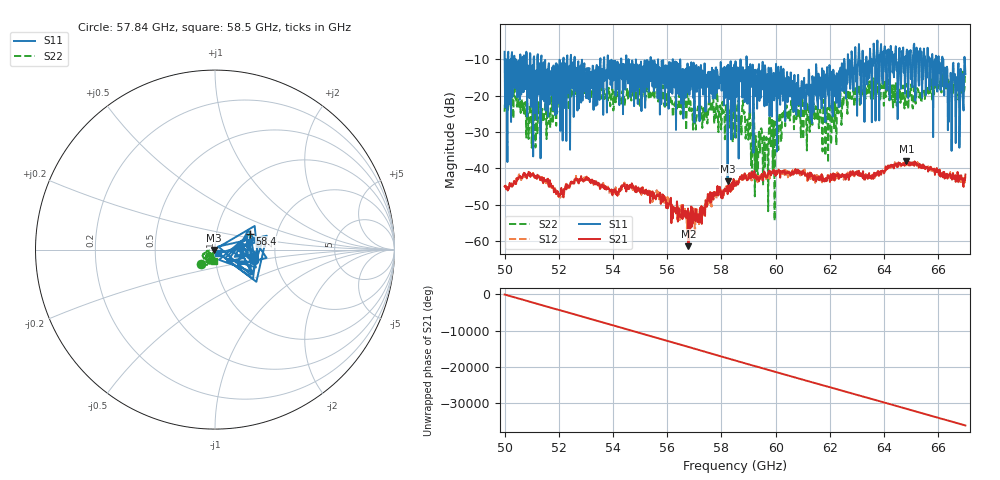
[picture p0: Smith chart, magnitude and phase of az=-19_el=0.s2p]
!Created with skrf (http://scikit-rf.org).
# GHz S RI R 50.0
!freq ReS11 ImS11 ReS21 ImS21 ReS12 ImS12 ReS22 ImS22
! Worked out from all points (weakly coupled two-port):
!   1001 points, 50 GHz to 67 GHz, reference 50 ohm
!   highest |S21| = -38.03 dB at 64.82 GHz (marker M1); lowest = -61.4 dB at 56.78 GHz (marker M2)
!   lowest |S11| = -43.6 dB at 58.23 GHz (marker M3), VSWR 1.01, Z = 49.4 - j0.147 ohm
!   |S11| at or under -10 dB: 52.59 GHz to 53.53 GHz (947.4 MHz wide, 1.79 % of centre); 56.21 GHz to 58.92 GHz (2.718 GHz wide, 4.72 % of centre); 58.93 GHz to 62.53 GHz (3.599 GHz wide, 5.93 % of centre) (the widest 3 of 65)
!   |S22| runs from -54.4 to -13.2 dB; largest |S21 - S12| = 0.0026
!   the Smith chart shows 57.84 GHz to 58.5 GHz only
!   S11 on the Smith chart (normalised r, x): 57.84 GHz: 1.55, -0.19; 58.4 GHz: 1.46, +0.27; 58.5 GHz: 1.03, -0.04
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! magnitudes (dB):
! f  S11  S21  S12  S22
! 50 GHz  -7.9  -44.9  -45.3  -24.4
! 50.15 GHz  -22.5  -45.5  -45.7  -20.6
! 51.07 GHz  -9.6  -41.8  -42.0  -26.3
! 51.99 GHz  -15.1  -47.8  -47.4  -20.8
! 52.84 GHz  -11.4  -42.8  -42.9  -19.9
! 55.68 GHz  -13.4  -47.5  -47.2  -21.6
! 56.78 GHz  -15.8  -61.4  -56.7  -20.7
! 57.84 GHz  -12.9  -47.4  -46.9  -19.0
! 58.23 GHz  -43.6  -47.1  -44.7  -22.6
! 58.4 GHz  -13.4  -43.8  -45.0  -26.0
! 58.5 GHz  -31.5  -43.9  -43.5  -23.8
! 59.11 GHz  -12.7  -40.9  -43.3  -34.6
! 59.32 GHz  -23.6  -42.4  -43.3  -34.7
! 60.64 GHz  -15.9  -41.8  -41.3  -22.3
! 61.34 GHz  -27.5  -41.8  -42.6  -27.2
! 62 GHz  -12.4  -43.7  -43.0  -24.2
! 62.55 GHz  -11.3  -41.7  -42.4  -18.4
! 64.18 GHz  -11.7  -39.4  -39.9  -17.4
! 64.82 GHz  -9.0  -38.0  -39.0  -19.2
! 66.1 GHz  -14.6  -41.3  -41.3  -18.3
! 66.44 GHz  -18.8  -41.5  -41.0  -16.5
! 67 GHz  -14.1  -41.7  -42.4  -14.4
